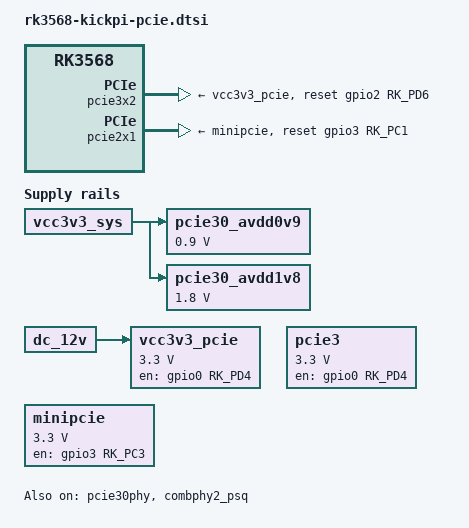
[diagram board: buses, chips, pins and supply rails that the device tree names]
/ {
	pcie30_avdd0v9: pcie30-avdd0v9 {
		compatible = "regulator-fixed";
		regulator-name = "pcie30_avdd0v9";
		regulator-always-on;
		regulator-boot-on;
		regulator-min-microvolt = <900000>;
		regulator-max-microvolt = <900000>;
		vin-supply = <&vcc3v3_sys>;
	};

	pcie30_avdd1v8: pcie30-avdd1v8 {
		compatible = "regulator-fixed";
		regulator-name = "pcie30_avdd1v8";
		regulator-always-on;
		regulator-boot-on;
		regulator-min-microvolt = <1800000>;
		regulator-max-microvolt = <1800000>;
		vin-supply = <&vcc3v3_sys>;
	};

	vcc3v3_pcie: gpio-regulator {
		compatible = "regulator-fixed";
		regulator-name = "vcc3v3_pcie";
		regulator-min-microvolt = <3300000>;
		regulator-max-microvolt = <3300000>;
		enable-active-high;
		gpio = <&gpio0 RK_PD4 GPIO_ACTIVE_HIGH>;
		startup-delay-us = <5000>;
		vin-supply = <&dc_12v>;
	};

	pcie3: pcie3-regulator {
		compatible = "regulator-fixed";
		regulator-name = "pcie3_power";
		regulator-boot-on;
		regulator-always-on;
		regulator-min-microvolt = <3300000>;
		regulator-max-microvolt = <3300000>;
		enable-active-high;
		gpio = <&gpio0 RK_PD4 GPIO_ACTIVE_HIGH>;
		pinctrl-names = "default";
		pinctrl-0 = <&pcie3_power_en>;
	};

	minipcie: minipcie-regulator {
		compatible = "regulator-fixed";
		regulator-name = "minipcie_power";
		regulator-boot-on;
		regulator-always-on;
		regulator-min-microvolt = <3300000>;
		regulator-max-microvolt = <3300000>;
		enable-active-high;
		gpio = <&gpio3 RK_PC3 GPIO_ACTIVE_HIGH>;
		pinctrl-names = "default";
		pinctrl-0 = <&minipcie_power_en>;
	};
	
};

&pcie30phy {
	status = "okay";
};

&pcie3x2 {
	reset-gpios = <&gpio2 RK_PD6 GPIO_ACTIVE_HIGH>;
	vpcie3v3-supply = <&vcc3v3_pcie>;
	status = "okay";
};


// Multi-PHY2 to PCIE2.0
&combphy2_psq {
	status = "okay";
};

&pcie2x1 {
	reset-gpios = <&gpio3 RK_PC1 GPIO_ACTIVE_HIGH>;
	disable-gpios = <&gpio3 RK_PC2 GPIO_ACTIVE_HIGH>;
	vpcie3v3-supply = <&minipcie>;
	status = "okay";
};

&pinctrl {
	pcie3 {
		pcie3_power_en: pcie3-power-en {
			rockchip,pins = <0 RK_PD4 RK_FUNC_GPIO &pcfg_pull_none>;
		};
	};
	minipcie {
		minipcie_power_en: minipcie-power-en {
			rockchip,pins = <3 RK_PC3 RK_FUNC_GPIO &pcfg_pull_none>;
		};
	};
};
